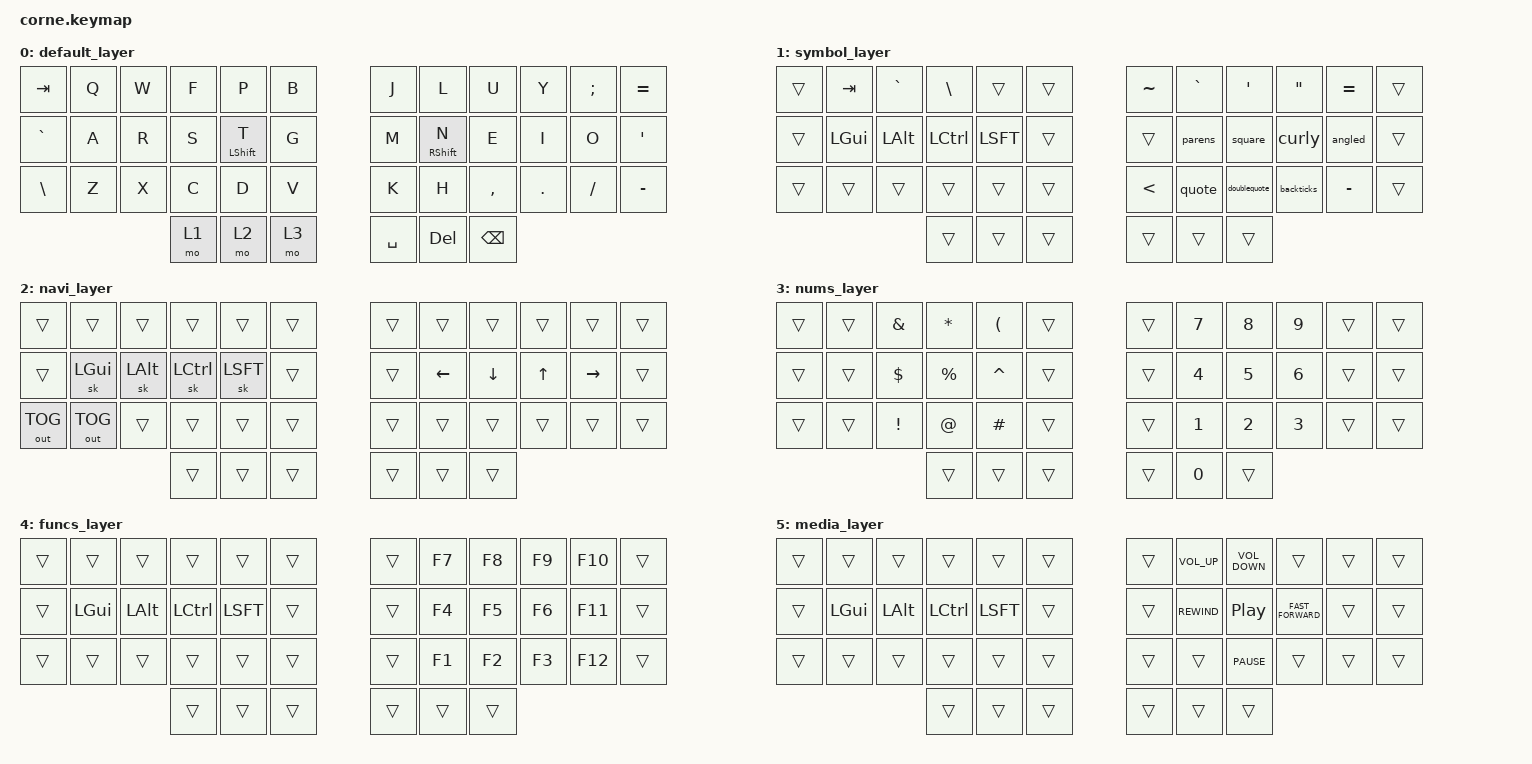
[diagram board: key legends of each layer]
/*
 * Copyright (c) 2020 The ZMK Contributors
 *
 * SPDX-License-Identifier: MIT
 */

#include <behaviors.dtsi>
#include <dt-bindings/zmk/keys.h>
#include <dt-bindings/zmk/bt.h>
#include <dt-bindings/zmk/outputs.h>

/ {
    combos {
        compatible = "zmk,combos";
        combo_esc {
            timeout-ms = <30>;
            key-positions = <3 4>;
            bindings = <&kp ESC>;
        };
        combo_tab {
            timeout-ms = <75>;
            key-positions = <1 2>;
            bindings = <&kp TAB>;
        };
        combo_tilde {
            timeout-ms = <35>;
            key-positions = <13 14>;
            bindings = <&kp GRAVE>;
        };
        combo_bslsh {
            timeout-ms = <75>;
            key-positions = <25 26>;
            bindings = <&kp BSLH>;
        };
        combo_equals {
            timeout-ms = <75>;
            key-positions = <9 10>;
            bindings = <&kp EQUAL>;
        };
        combo_repeat {
            timeout-ms = <35>;
            key-positions = <6 7>;
            bindings = <&key_repeat>;
        };
        combo_sqt{
            timeout-ms = <75>;
            key-positions = <21 22>;
            bindings = <&kp SQT>;
        };
        combo_minus {
            timeout-ms = <75>;
            key-positions = <33 34>;
            bindings = <&kp MINUS>;
        };
        combo_enter {
            timeout-ms = <75>;
            key-positions = <7 8 9>;
            bindings = <&kp ENTER>;
        };
        combo_paste {
            timeout-ms = <35>;
            key-positions = <27 28>;
            bindings = <&kp LC(V)>;
        };
        combo_copy {
            timeout-ms = <35>;
            key-positions = <26 27>;
            bindings = <&kp LC(C)>;
        };
        combo_cut {
            timeout-ms = <75>;
            key-positions = <25 26 27 28>;
            bindings = <&kp LC(X)>;
        };
        combo_shift_copy {
            timeout-ms = <75>;
            key-positions = <25 26 27>;
            bindings = <&kp LS(LC(X))>;
        };
        combo_paste_shift {
            timeout-ms = <75>;
            key-positions = <26 27 28>;
            bindings = <&kp LS(LC(V))>;
        };
        open_guake {
            timeout-ms = <35>;
            key-positions = <31 32>;
            bindings = <&kp LC(ESCAPE)>;
        };
        startCaps {
            timeout-ms = <50>;
            key-positions = <19 20 21>;
            bindings = <&caps_word>;
        };
        btclr {
            timeout-ms = <250>;
            key-positions = <2 3 4 6>;
            bindings = <&bt BT_CLR>; 
        };
        bt0 {
            timeout-ms = <50>;
            key-positions = <1 2 3 4>;
            bindings = <&bt BT_SEL 0>; 
        };
        bt1 {
            timeout-ms = <50>;
            key-positions = <2 3 4 5>;
            bindings = <&bt BT_SEL 1>; 
        };
        osst {
            timeout-ms = <50>;
            key-positions = <14 15 16 17>;
            bindings = <&out OUT_TOG>; 
        };
    };
};
/ {
    conditional_layers {
        compatible = "zmk,conditional-layers";
        tri_layer {
            if-layers = <2 3>;
            then-layer = <4>;
        };
        quad_layer {
            if-layers = <1 2>;
            then-layer = <5>;
        };
    };
};

&caps_word {
    continue-list = <UNDERSCORE MINUS DELETE BSPC>;
};
&sk {
    release-after-ms = <2000>;
    quick-release;
};

/ {
    macros {
        dpar: dpar {
            label = "DPAR";
            compatible = "zmk,behavior-macro";
            #binding-cells = <0>;
            bindings = <&macro_tap &kp LPAR &kp RPAR &kp LEFT_ARROW>
                ;
        };
        dsqr: dsqr {
            label = "DSQR";
            compatible = "zmk,behavior-macro";
            #binding-cells = <0>;
            bindings = <&macro_tap &kp LBKT &kp RBKT &kp LEFT_ARROW>
                ;
        };
        dcurl: dcurl {
            label = "DCURL";
            compatible = "zmk,behavior-macro";
            #binding-cells = <0>;
            bindings = <&macro_tap &kp LBRC &kp RBRC &kp LEFT_ARROW>
                ;
        };
        dangle: dangle {
            label = "DANGLE";
            compatible = "zmk,behavior-macro";
            #binding-cells = <0>;
            bindings = <&macro_tap &kp LT &kp GT &kp LEFT_ARROW>
                ;
        };
        dsqt: dsqt {
            label = "DSQT";
            compatible = "zmk,behavior-macro";
            #binding-cells = <0>;
            bindings = <&macro_tap &kp SQT &kp SQT &kp LEFT_ARROW>
                ;
        };
        ddqt: ddqt {
            label = "DDQT";
            compatible = "zmk,behavior-macro";
            #binding-cells = <0>;
            bindings = <&macro_tap &kp DQT &kp DQT &kp LEFT_ARROW>
                ;
        };
        dbacktick: dbacktick {
            label = "DBACKTICK";
            compatible = "zmk,behavior-macro";
            #binding-cells = <0>;
            bindings = <&macro_tap &kp GRAVE &kp GRAVE &kp LEFT_ARROW>
                ;
        };
        tbacktick: tbacktick {
            label = "TBACKTICK";
            compatible = "zmk,behavior-macro";
            #binding-cells = <0>;
            bindings = <&macro_tap &kp GRAVE &kp GRAVE &kp GRAVE &kp GRAVE &kp GRAVE &kp GRAVE &kp LEFT_ARROW &kp LEFT_ARROW &kp LEFT_ARROW>
                ;
        };
    };
};

/ {
    behaviors {
        hm: homerow_mods {
            compatible = "zmk,behavior-hold-tap";
            label = "HOMEROW_MODS";
            #binding-cells = <2>;
            tapping-term-ms = <250>;    // <---[[moderate duration]]
            quick-tap-ms = <0>;
            flavor = "balanced";
            bindings = <&kp>, <&kp>;
        };
        parens: parens_td {
            compatible = "zmk,behavior-tap-dance";
            label = "PARENS_TD";
            #binding-cells = <0>;
            tapping-term-ms = <250>;
            bindings = <&kp LPAR>, <&kp RPAR>, <&dpar>;
        };
        square: square_td {
            compatible = "zmk,behavior-tap-dance";
            label = "SQUARE_TD";
            #binding-cells = <0>;
            tapping-term-ms = <250>;
            bindings = <&kp LBKT>, <&kp RBKT>, <&dsqr>;
        };
        curly: curly_td {
            compatible = "zmk,behavior-tap-dance";
            label = "CURLY_TD";
            #binding-cells = <0>;
            tapping-term-ms = <250>;
            bindings = <&kp LBRC>, <&kp RBRC>, <&dcurl>;
        };
        angled: angled_td {
            compatible = "zmk,behavior-tap-dance";
            label = "ANGLED_TD";
            #binding-cells = <0>;
            tapping-term-ms = <400>;
            bindings = <&kp LT>, <&kp GT>, <&dangle>;
        };
        quote: quote_td {
            compatible = "zmk,behavior-tap-dance";
            label = "SQUOTE_TD";
            #binding-cells = <0>;
            tapping-term-ms = <400>;
            bindings = <&kp SQT>, <&dsqt>;
        };
        doublequote: doublequote_td {
            compatible = "zmk,behavior-tap-dance";
            label = "DQUOTE_TD";
            #binding-cells = <0>;
            tapping-term-ms = <400>;
            bindings = <&kp DQT>, <&ddqt>;
        };
        backticks: backticks_td {
            compatible = "zmk,behavior-tap-dance";
            label = "BACKTICKS_TD";
            #binding-cells = <0>;
            tapping-term-ms = <400>;
            bindings = <&kp GRAVE>, <&dbacktick>, <&tbacktick>;
        };
    };



        keymap {
                compatible = "zmk,keymap";

                default_layer {
                        bindings = <
   &kp TAB   &kp Q &kp W &kp F &kp P        &kp B          &kp J  &kp L         &kp U      &kp Y    &kp SEMI   &kp EQUAL
   &kp GRAVE &kp A &kp R &kp S &hm LSHIFT T &kp G          &kp M  &hm RSHIFT N  &kp E      &kp  I   &kp O      &kp SQT
   &kp BSLH  &kp Z &kp X &kp C &kp D        &kp V          &kp K  &kp H         &kp COMMA  &kp DOT  &kp FSLH   &kp MINUS
                  &mo 1 &mo 2 &mo 3                                         &kp SPACE &kp DELETE    &kp BSPC
                        >;
                };
                symbol_layer {
                        bindings = <
   &trans &kp TAB  &kp GRAVE &kp BSLH &trans   &trans         &kp TILDE  &kp GRAVE  &kp SQT    &kp DQT    &kp EQUAL &trans
   &trans &kp LGUI &kp LALT  &kp LCTL &kp LSFT &trans         &trans     &parens    &square    &curly     &angled   &trans
   &trans &trans   &trans    &trans   &trans   &trans         &kp LT     &quote     &doublequote   &backticks   &kp MINUS &trans
   &trans &trans   &trans                                     &trans     &trans     &trans
                        >;
                };
                navi_layer {
                        bindings = <
   &trans       &trans        &trans    &trans   &trans   &trans         &trans &trans          &trans         &trans        &trans          &trans    
   &trans       &sk LGUI      &sk LALT  &sk LCTL &sk LSFT &trans         &trans &kp LEFT_ARROW  &kp DOWN_ARROW &kp UP_ARROW  &kp RIGHT_ARROW &trans
   &out OUT_TOG &out OUT_TOG  &trans    &trans   &trans   &trans         &trans &trans          &trans         &trans        &trans          &trans
   &trans       &trans        &trans                                     &trans &trans          &trans
                        >;
                };
                nums_layer {
                        bindings = <
   &trans  &trans    &kp AMPS         &kp STAR    &kp LPAR   &trans         &trans   &kp N7   &kp N8   &kp N9  &trans &trans
   &trans  &trans    &kp DOLLAR       &kp PERCENT &kp CARET  &trans         &trans   &kp N4   &kp N5   &kp N6  &trans &trans
   &trans  &trans    &kp EXCLAMATION &kp AT      &kp HASH   &trans          &trans   &kp N1   &kp N2   &kp N3  &trans &trans
   &trans   &trans     &trans                                               &trans   &kp N0     &trans
                        >;
                };
                funcs_layer {
                        bindings = <
   &trans &trans   &trans    &trans   &trans   &trans         &trans   &kp F7    &kp F8     &kp F9  &kp F10    &trans
   &trans &kp LGUI &kp LALT  &kp LCTL &kp LSFT &trans         &trans   &kp F4    &kp F5     &kp F6  &kp F11    &trans
   &trans &trans   &trans    &trans   &trans   &trans         &trans   &kp F1    &kp F2     &kp F3  &kp F12    &trans
   &trans &trans   &trans                                     &trans   &trans    &trans
                        >;
                };
                media_layer {
                        bindings = <
   &trans &trans   &trans    &trans   &trans   &trans         &trans &kp C_VOLUME_UP &kp C_VOLUME_DOWN &trans             &trans &trans
   &trans &kp LGUI &kp LALT  &kp LCTL &kp LSFT &trans         &trans &kp C_REWIND    &kp C_PLAY_PAUSE  &kp C_FAST_FORWARD &trans &trans
   &trans &trans   &trans    &trans   &trans   &trans         &trans &trans          &kp C_PAUSE       &trans             &trans &trans

   &trans &trans   &trans                                     &trans &trans          &trans
                        >;
                };
        };
};
